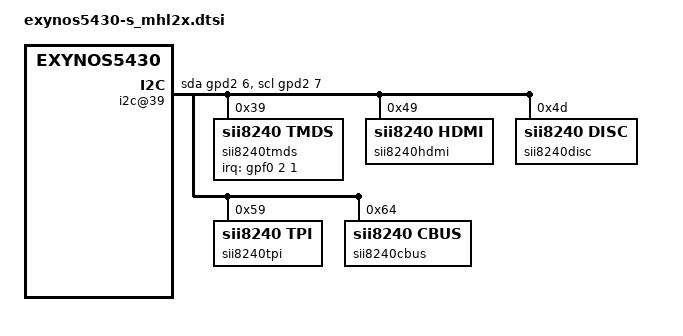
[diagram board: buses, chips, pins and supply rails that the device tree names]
/* Copyright (c) 2013, Samsung Electronics Corporation. All rights reserved.
 *
 * This program is free software; you can redistribute it and/or modify
 * it under the terms of the GNU General Public License version 2 and
 * only version 2 as published by the Free Software Foundation.
 *
 * This program is distributed in the hope that it will be useful,
 * but WITHOUT ANY WARRANTY; without even the implied warranty of
 * MERCHANTABILITY or FITNESS FOR A PARTICULAR PURPOSE.  See the
 * GNU General Public License for more details.
 */

/ {
	i2c@39{
		compatible = "i2c-gpio";
		gpios = <&gpd2 6 0 /* sda */
			&gpd2 7 0 /* scl */
			>;
		i2c-gpio,delay-us = <2>;
		#address-cells = <1>;
		#size-cells = <0>;
		status = "okay";

		sii8240tmds@39 {
			compatible = "sii8240,tmds";
			reg = <0x39>; /* 0x72 >> 1 */
			sii8240,client_id = <0x00>;

			interrupts = <2 1 1>;
			interrupt-parent = <&gpf0>;

			sii8240,mhl_reset = <&gpv7 0 0>;
			sii8240,mhl_scl = <&gpd2 7 0>;
			sii8240,mhl_sda = <&gpd2 6 0>;
			sii8240,swing_level = <0x2D>;
		};
		sii8240hdmi@49 {
			compatible = "sii8240,hdmi";
			reg = <0x49>; /* 0x92 >> 1 */
			sii8240,client_id = <0x01>;
		};
		sii8240disc@4D {
			compatible = "sii8240,disc";
			reg = <0x4D>;  /* 0x9A >> 1 */
			sii8240,client_id = <0x02>;
		};
		sii8240tpi@59 {
			compatible = "sii8240,tpi";
			reg = <0x59>;   /* 0xB2 >> 1 */
			sii8240,client_id = <0x03>;
		};
		sii8240cbus@64 {
			compatible = "sii8240,cbus";
			reg = <0x64>;  /* 0xC8 >> 1 */
			sii8240,client_id = <0x04>;
		};
	};

};
